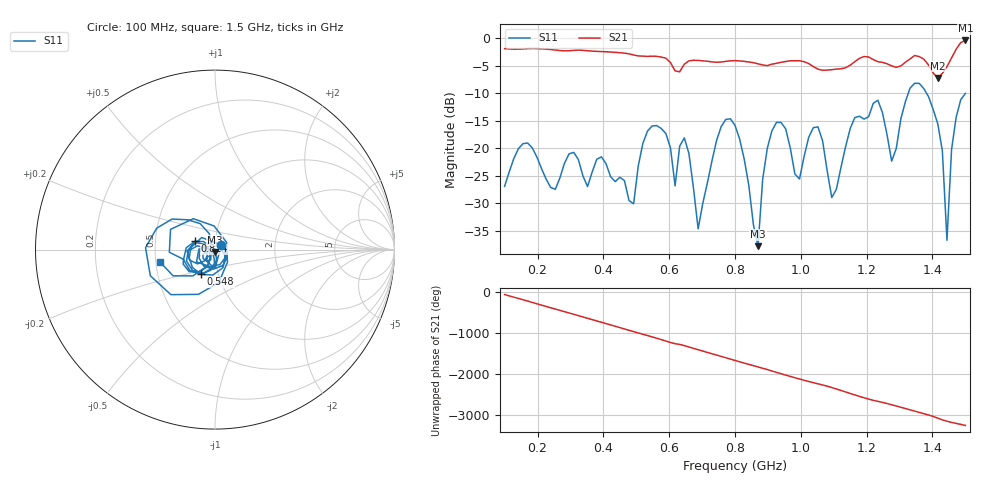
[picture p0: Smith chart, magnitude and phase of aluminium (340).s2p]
! NanoVNA-App
! Date: 2025-09-25 14:57:55
! Start: 100MHz Stop: 1,5GHz Points: 101
! S-Parameter data: F S11 S21 S12 S22
# Hz S RI R 50
!  Frequency  S11_Real  S11_Imag  S21_Real  S21_Imag  S12_Real  S12_Imag  S22_Real  S22_Imag
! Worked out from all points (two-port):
!   101 points, 100 MHz to 1.5 GHz, reference 50 ohm
!   highest |S21| = -0.43 dB at 1.5 GHz (marker M1); lowest = -7.3 dB at 1.416 GHz (marker M2)
!   |S21| within 3 dB of the highest: start of sweep to 574.1 MHz; 1.46 GHz to end of sweep (the widest 2 of 4)
!   lowest |S11| = -37.8 dB at 870 MHz (marker M3), VSWR 1.03, Z = 49.9 - j1.28 ohm
!   |S11| at or under -10 dB: start of sweep to 1.327 GHz; 1.382 GHz to end of sweep
!   S12 and S22 are empty: the file has one direction only
!   S11 on the Smith chart (normalised r, x): 100 MHz: 1.07, +0.06; 548 MHz: 0.82, -0.23; 814 MHz: 0.80, +0.07; 1.5 GHz: 0.53, -0.08
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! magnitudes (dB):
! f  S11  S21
! 100 MHz  -27.0  -1.9
! 338 MHz  -25.1  -2.2
! 492 MHz  -30.1  -3.1
! 548 MHz  -16.0  -3.3
! 576 MHz  -16.4  -3.5
! 618 MHz  -26.9  -6.0
! 646 MHz  -18.1  -4.7
! 688 MHz  -34.7  -4.1
! 800 MHz  -15.9  -4.1
! 814 MHz  -18.3  -4.2
! 870 MHz  -37.8  -4.7
! 912 MHz  -16.9  -4.7
! 996 MHz  -25.6  -4.1
! 1.038 GHz  -16.3  -5.2
! 1.094 GHz  -29.0  -5.7
! 1.234 GHz  -11.3  -4.3
! 1.276 GHz  -22.4  -5.1
! 1.346 GHz  -8.2  -3.2
! 1.416 GHz  -15.6  -7.3
! 1.444 GHz  -36.8  -5.2
! 1.458 GHz  -20.3  -3.6
! 1.5 GHz  -10.0  -0.4
